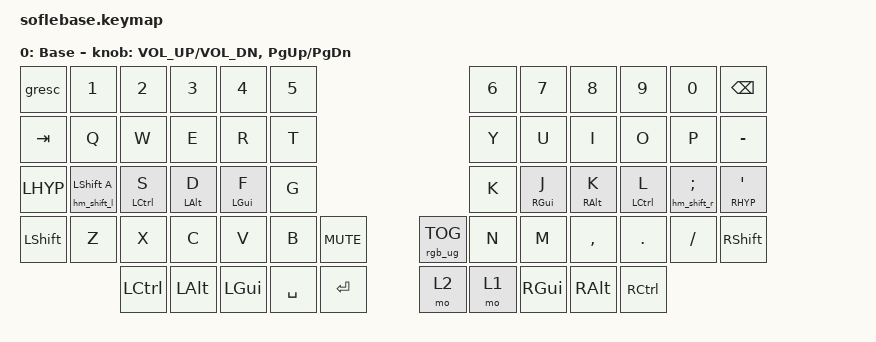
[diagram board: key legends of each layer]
/*
 * Copyright (c) 2020 The ZMK Contributors
 *
 * SPDX-License-Identifier: MIT
 */

// Define layer numbers
#define BASE 0
#define BASE_QWERTY 1
#define NAV_WORD 2
#define NUM_WORD 3
#define SYM_WORD 4
#define NAV 5
#define NUM 6
#define SYM 7
#define FUNC 8
#define ADJUST 9
#define LOWER 10
#define MOUSE_KEYS 11
#define MOUSE_TP 12
#define MOUSE_TP_SET 13

#ifdef HAS_UROB
  #define HAS_TRI_STATE
  #define HAS_NUM_WORD
#endif

// ZMK includes
#include <behaviors.dtsi>
#include <dt-bindings/zmk/keys.h>
#include <dt-bindings/zmk/bt.h>
#include <dt-bindings/zmk/rgb.h>
#include <dt-bindings/zmk/ext_power.h>


#include <behaviors.dtsi>
#include <dt-bindings/zmk/bt.h>
#include <dt-bindings/zmk/ext_power.h>
#include <dt-bindings/zmk/keys.h>
#include <dt-bindings/zmk/outputs.h>
#include <dt-bindings/zmk/rgb.h>


// Personal includes
#include "includes/custom_keycodes.dtsi"
#include "includes/settings.dtsi"
//#include "includes/settings_pd.dtsi"
#include "includes/conditional_layers.dtsi"
#include "includes/macros.dtsi"
#include "includes/combos.dtsi"
#include "includes/behaviours_homerow_mods.dtsi"
#include "includes/behaviours_mod_morph.dtsi"
#include "includes/behaviours_other.dtsi"
#include "includes/mouse_keys.dtsi"
#include "includes/mouse_tp.dtsi"
#include "includes/mouse_tp_badjeff_input_listener.dtsi"


#ifdef HAS_MOUSE_TP
  #define U_TOG_TP_SET &tog MOUSE_TP_SET
#else
  #define U_TOG_TP_SET &none
#endif  // HAS_MOUSE_TP


&led_strip {
    chain-length = <35>;
};

&left_encoder {
    resolution = <2>;
};



/ {
    combos {
        compatible = "zmk,combos";
        combo_tl0 {
            timeout-ms = <200>;
            key-positions = <36 50>;
            bindings = <&tog 1>;
        };
        combo_tl1 {
            timeout-ms = <200>;
            key-positions = <36 51>;
            bindings = <&tog 2>;
        };
        combo_tl2 {
            timeout-ms = <200>;
            key-positions = <36 52>;
            bindings = <&tog 3>;
        };
        combo_ml0 {
            timeout-ms = <200>;
            key-positions = <24 50>;
            bindings = <&mo 1>;
        };
        combo_ml1 {
            timeout-ms = <200>;
            key-positions = <24 51>;
            bindings = <&mo 2>;
        };
        combo_ml2 {
            timeout-ms = <200>;
            key-positions = <24 52>;
            bindings = <&mo 3>;
        };

        combo_tlr0 {
            timeout-ms = <200>;
            key-positions = <49 59>;
            bindings = <&tog 1>;
        };
        combo_tlr1 {
            timeout-ms = <200>;
            key-positions = <49 58>;
            bindings = <&tog 2>;
        };
        combo_tlr2 {
            timeout-ms = <200>;
            key-positions = <49 57>;
            bindings = <&tog 3>;
        };
        combo_mlr0 {
            timeout-ms = <200>;
            key-positions = <35 59>;
            bindings = <&mo 1>;
        };
        combo_mlr1 {
            timeout-ms = <200>;
            key-positions = <35 58>;
            bindings = <&mo 2>;
        };
        combo_mlr2 {
            timeout-ms = <200>;
            key-positions = <35 57>;
            bindings = <&mo 3>;
        };
    };
};

/ {
 behaviors {
        gresc: grave_escape {
            compatible = "zmk,behavior-mod-morph";
            #binding-cells = <0>;
            bindings = <&kp ESC>, <&kp GRAVE>;
            mods = <(MOD_LGUI|MOD_LSFT|MOD_RGUI|MOD_RSFT)>;
                            };             
  


    
           };
};


/ {

  keymap {
    compatible = "zmk,keymap";

    Base_layer {
      display-name = "Base";
      bindings = <

 
 //        `                 1                 2                 3                 4                 5                                                     6                 7                 8                 9                 0                bksp       
        &gresc            &kp N1            &kp N2            &kp N3            &kp N4            &kp N5                                                &kp N6            &kp N7            &kp N8            &kp N9            &kp N0           &kp BSPC     
//        Tab               Q                 W                 E                 R                 T                                                     Y                 U                 I                 O                 P                 -         
        &kp TAB           &kp Q             &kp W             &kp E             &kp R             &kp T                                                 &kp Y             &kp U             &kp I             &kp O             &kp P           &kp MINUS     
//      HYPER               A                 S                 D                 F                 G                                                     H                 J                 K                 L                 ;                 SQT       
      &kp LHYP           &hm_shift_l LSHFT A &hm_l LCTRL S &hm_l LALT D      &hm_l LGUI F      &kp G                                                    &kp K            &hm_r RGUI J       &hm_r RALT K      &hm_r LCTRL L     &hm_shift_r SEMICOLON  &mt RHYP SQT    
//      LSHIFT              Z                 X                 C                 V                 B               C_MUTE            RGB TOG             N                 M                 ,                 .                 /               RSHIFT      
      &kp LSHFT           &kp Z             &kp X             &kp C             &kp V             &kp B           &kp C_MUTE      &rgb_ug RGB_TOG       &kp N             &kp M           &kp COMMA           &kp DOT          &kp FSLH         &kp RSHFT     
//                                          LCTRL              LALT              LGUI             SPACE               RET             LAYER 2           LAYER 1            RGUI              RALT             RCTRL                                           
                                          &kp LCTRL          &kp LALT          &kp LGUI         &kp SPACE           &kp RET           &mo 2            &mo 1            &kp RGUI          &kp RALT         &kp RCTRL                                         
        >;        sensor-bindings = <&inc_dec_kp C_VOL_UP C_VOL_DN &inc_dec_kp PG_UP PG_DN>;

 
    };

  }; 

};
